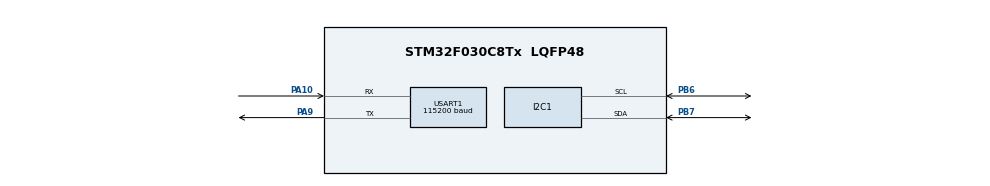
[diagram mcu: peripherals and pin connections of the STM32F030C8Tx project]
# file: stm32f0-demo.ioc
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I2C1.Timing=0x00201D2B
Mcu.Family=STM32F0
Mcu.Name=STM32F030C8Tx
Mcu.Package=LQFP48
PA10.Mode=Asynchronous
PA10.Signal=USART1_RX
PA9.Mode=Asynchronous
PA9.Signal=USART1_TX
PB6.Mode=I2C
PB6.Signal=I2C1_SCL
PB7.Mode=I2C
PB7.Signal=I2C1_SDA
PF0-OSC_IN.Mode=HSE-External-Oscillator
PF0-OSC_IN.Signal=RCC_OSC_IN
PF1-OSC_OUT.Mode=HSE-External-Oscillator
PF1-OSC_OUT.Signal=RCC_OSC_OUT
ProjectManager.HeapSize=0x200
ProjectManager.StackSize=0x400
ProjectManager.TargetToolchain=STM32CubeIDE
RCC.SYSCLKSource=RCC_SYSCLKSOURCE_HSE
USART1.BaudRate=115200
USART1.VirtualMode-Asynchronous=VM_ASYNC
board=custom

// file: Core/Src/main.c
/* USER CODE BEGIN Header */
/**
 ******************************************************************************
 * @file           : main.c
 * @brief          : Main program body
 ******************************************************************************
 * @attention
 *
 * Copyright (c) 2026 STMicroelectronics.
 * All rights reserved.
 *
 * This software is licensed under terms that can be found in the LICENSE file
 * in the root directory of this software component.
 * If no LICENSE file comes with this software, it is provided AS-IS.
 *
 ******************************************************************************
 */
/* USER CODE END Header */
#include "main.h"

/* USER CODE BEGIN Includes */
#include <stdio.h>
#include <string.h>

#include "mpu6050.h"
/* USER CODE END Includes */

I2C_HandleTypeDef hi2c1;

UART_HandleTypeDef huart1;

/* USER CODE BEGIN PV */
const int BUFFER_LEN = 60;

const int DATA_LEN = 3;
/* USER CODE END PV */

void SystemClock_Config(void);
static void MX_GPIO_Init(void);
static void MX_USART1_UART_Init(void);
static void MX_I2C1_Init(void);

int main(void) {

	/* USER CODE BEGIN 1 */
	char buffer[BUFFER_LEN];
	float accel_data[DATA_LEN];
	float gyro_data[DATA_LEN];
	/* USER CODE END 1 */

	/* MCU Configuration--------------------------------------------------------*/

	/* Reset of all peripherals, Initializes the Flash interface and the Systick. */
	HAL_Init();

	/* Configure the system clock */
	SystemClock_Config();

	/* Initialize all configured peripherals */
	MX_GPIO_Init();
	MX_USART1_UART_Init();
	MX_I2C1_Init();
	/* USER CODE BEGIN 2 */
	MPU6050_Init();
	/* USER CODE END 2 */

	/* Infinite loop */
	/* USER CODE BEGIN WHILE */
	while (1) {
		MPU6050_Read(accel_data, gyro_data);

		sprintf(buffer, "Acceleration X: %.2f, Y: %.2f, Z: %.2f m/s^2\r\n",
				accel_data[0], accel_data[1], accel_data[2]);
		HAL_UART_Transmit(&huart1, (uint8_t*) buffer, strlen(buffer),
		HAL_MAX_DELAY);

		sprintf(buffer, "Rotation X: %.2f, Y: %.2f, Z: %.2f º/s\r\n\n",
				gyro_data[0], gyro_data[1], gyro_data[2]);
		HAL_UART_Transmit(&huart1, (uint8_t*) buffer, strlen(buffer),
		HAL_MAX_DELAY);

		HAL_Delay(500);
		/* USER CODE END WHILE */

	}
}

void SystemClock_Config(void) {
	RCC_OscInitTypeDef RCC_OscInitStruct = { 0 };
	RCC_ClkInitTypeDef RCC_ClkInitStruct = { 0 };
	RCC_PeriphCLKInitTypeDef PeriphClkInit = { 0 };

	/** Initializes the RCC Oscillators according to the specified parameters
	 * in the RCC_OscInitTypeDef structure.
	 */
	RCC_OscInitStruct.OscillatorType = RCC_OSCILLATORTYPE_HSI
			| RCC_OSCILLATORTYPE_HSE;
	RCC_OscInitStruct.HSEState = RCC_HSE_ON;
	RCC_OscInitStruct.HSIState = RCC_HSI_ON;
	RCC_OscInitStruct.HSICalibrationValue = RCC_HSICALIBRATION_DEFAULT;
	RCC_OscInitStruct.PLL.PLLState = RCC_PLL_NONE;
	if (HAL_RCC_OscConfig(&RCC_OscInitStruct) != HAL_OK) {
		Error_Handler();
	}

	/** Initializes the CPU, AHB and APB buses clocks
	 */
	RCC_ClkInitStruct.ClockType = RCC_CLOCKTYPE_HCLK | RCC_CLOCKTYPE_SYSCLK
			| RCC_CLOCKTYPE_PCLK1;
	RCC_ClkInitStruct.SYSCLKSource = RCC_SYSCLKSOURCE_HSE;
	RCC_ClkInitStruct.AHBCLKDivider = RCC_SYSCLK_DIV1;
	RCC_ClkInitStruct.APB1CLKDivider = RCC_HCLK_DIV1;

	if (HAL_RCC_ClockConfig(&RCC_ClkInitStruct, FLASH_LATENCY_0) != HAL_OK) {
		Error_Handler();
	}
	PeriphClkInit.PeriphClockSelection = RCC_PERIPHCLK_USART1
			| RCC_PERIPHCLK_I2C1;
	PeriphClkInit.Usart1ClockSelection = RCC_USART1CLKSOURCE_PCLK1;
	PeriphClkInit.I2c1ClockSelection = RCC_I2C1CLKSOURCE_HSI;
	if (HAL_RCCEx_PeriphCLKConfig(&PeriphClkInit) != HAL_OK) {
		Error_Handler();
	}
}

static void MX_I2C1_Init(void) {

	hi2c1.Instance = I2C1;
	hi2c1.Init.Timing = 0x00201D2B;
	hi2c1.Init.OwnAddress1 = 0;
	hi2c1.Init.AddressingMode = I2C_ADDRESSINGMODE_7BIT;
	hi2c1.Init.DualAddressMode = I2C_DUALADDRESS_DISABLE;
	hi2c1.Init.OwnAddress2 = 0;
	hi2c1.Init.OwnAddress2Masks = I2C_OA2_NOMASK;
	hi2c1.Init.GeneralCallMode = I2C_GENERALCALL_DISABLE;
	hi2c1.Init.NoStretchMode = I2C_NOSTRETCH_DISABLE;
	if (HAL_I2C_Init(&hi2c1) != HAL_OK) {
		Error_Handler();
	}

	/** Configure Analogue filter
	 */
	if (HAL_I2CEx_ConfigAnalogFilter(&hi2c1, I2C_ANALOGFILTER_ENABLE)
			!= HAL_OK) {
		Error_Handler();
	}

	/** Configure Digital filter
	 */
	if (HAL_I2CEx_ConfigDigitalFilter(&hi2c1, 0) != HAL_OK) {
		Error_Handler();
	}

}

static void MX_USART1_UART_Init(void) {

	huart1.Instance = USART1;
	huart1.Init.BaudRate = 115200;
	huart1.Init.WordLength = UART_WORDLENGTH_8B;
	huart1.Init.StopBits = UART_STOPBITS_1;
	huart1.Init.Parity = UART_PARITY_NONE;
	huart1.Init.Mode = UART_MODE_TX_RX;
	huart1.Init.HwFlowCtl = UART_HWCONTROL_NONE;
	huart1.Init.OverSampling = UART_OVERSAMPLING_16;
	huart1.Init.OneBitSampling = UART_ONE_BIT_SAMPLE_DISABLE;
	huart1.AdvancedInit.AdvFeatureInit = UART_ADVFEATURE_NO_INIT;
	if (HAL_UART_Init(&huart1) != HAL_OK) {
		Error_Handler();
	}

}

static void MX_GPIO_Init(void) {

	/* GPIO Ports Clock Enable */
	__HAL_RCC_GPIOF_CLK_ENABLE();
	__HAL_RCC_GPIOA_CLK_ENABLE();
	__HAL_RCC_GPIOB_CLK_ENABLE();

}

void Error_Handler(void) {
	__disable_irq();
	while (1) {
	}
}
